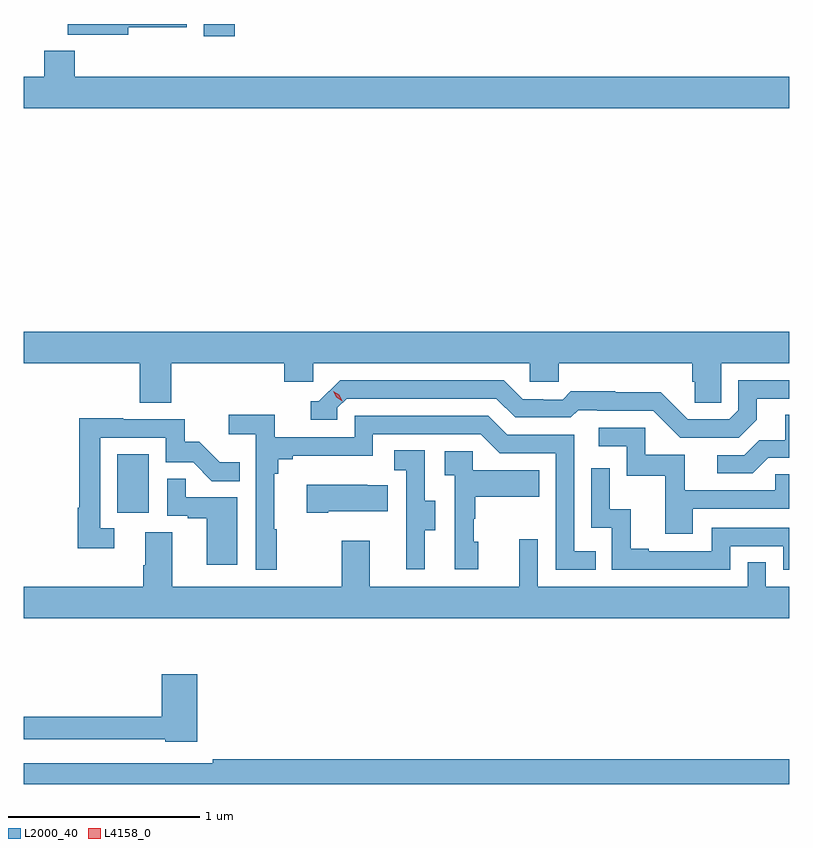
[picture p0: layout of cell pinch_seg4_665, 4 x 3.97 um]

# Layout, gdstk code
import gdstk
lib = gdstk.Library(unit=1e-6, precision=1e-09)
def R(c, l, rs):  # rectangles x0, y0, x1, y1
    for r in rs: c.add(gdstk.rectangle(r[:2], r[2:], *l))
def P(c, l, *ps):  # polygons
    for p in ps: c.add(gdstk.Polygon(p, *l))
L2000_40 = (2000, 40)
L4158_0 = (4158, 0)

pinch_seg4_665 = lib.new_cell('pinch_seg4_665')
R(pinch_seg4_665, L2000_40, [(1129.688,764.07,1129.852,764.377), (1130.141,766.56,1130.302,766.623)])
P(pinch_seg4_665, L2000_40, [(1129.747,766.606),(1130.052,766.606),(1130.052,766.623),(1129.429,766.623),(1129.429,766.568),(1129.747,766.568)],
  [(1133.199,766.348),(1129.466,766.348),(1129.466,766.483),(1129.306,766.483),(1129.306,766.348),(1129.199,766.348),(1129.199,766.184),(1133.199,766.184)],
  [(1129.97,764.852),(1130.561,764.852),(1130.561,764.754),(1130.712,764.754),(1130.712,764.852),(1131.843,764.852),(1131.843,764.754),(1131.993,764.754),(1131.993,764.852),(1132.691,764.852),(1132.691,764.754),(1132.705,764.754),(1132.705,764.644),(1132.842,764.644),(1132.842,764.852),(1133.199,764.852),(1133.199,765.016),(1129.199,765.016),(1129.199,764.852),(1129.805,764.852),(1129.805,764.644),(1129.97,764.644)],
  [(1133.029,764.557),(1133.029,764.667),(1133.199,764.667),(1133.199,764.763),(1132.932,764.763),(1132.932,764.607),(1132.884,764.559),(1132.668,764.559),(1132.526,764.701),(1132.29,764.701),(1132.29,764.704),(1132.057,764.704),(1132.015,764.661),(1131.912,764.661),(1131.912,764.664),(1131.805,764.664),(1131.706,764.763),(1130.853,764.763),(1130.742,764.652),(1130.699,764.652),(1130.699,764.556),(1130.838,764.556),(1130.838,764.619),(1130.886,764.667),(1131.669,764.667),(1131.768,764.568),(1132.057,764.568),(1132.096,764.607),(1132.195,764.607),(1132.195,764.604),(1132.488,764.604),(1132.629,764.463),(1132.935,764.463)],
  [(1133.089,764.358),(1133.199,764.358),(1133.199,764.582),(1133.177,764.582),(1133.177,764.45),(1133.042,764.45),(1132.962,764.37),(1132.821,764.37),(1132.821,764.277),(1133.008,764.277)],
  [(1130.521,763.985),(1130.509,763.985),(1130.509,764.273),(1130.528,764.273),(1130.528,764.35),(1130.605,764.35),(1130.605,764.369),(1131.024,764.369),(1131.024,764.481),(1131.588,764.481),(1131.687,764.382),(1131.978,764.382),(1131.978,763.773),(1132.187,763.773),(1132.187,763.869),(1132.074,763.869),(1132.074,764.478),(1131.724,764.478),(1131.625,764.577),(1130.928,764.577),(1130.928,764.466),(1130.51,764.466),(1130.51,764.582),(1130.271,764.582),(1130.271,764.48),(1130.412,764.48),(1130.412,763.773),(1130.521,763.773)],
  [(1129.672,763.989),(1129.599,763.989),(1129.599,764.463),(1129.941,764.463),(1129.941,764.334),(1130.085,764.334),(1130.183,764.236),(1130.327,764.236),(1130.327,764.335),(1130.223,764.335),(1130.116,764.442),(1130.04,764.442),(1130.04,764.559),(1129.721,764.559),(1129.721,764.564),(1129.491,764.564),(1129.491,764.096),(1129.483,764.096),(1129.483,763.884),(1129.672,763.884)],
  [(1132.693,764.091),(1133.199,764.091),(1133.199,764.271),(1133.125,764.271),(1133.125,764.187),(1132.651,764.187),(1132.651,764.373),(1132.446,764.373),(1132.446,764.514),(1132.203,764.514),(1132.203,764.418),(1132.35,764.418),(1132.35,764.265),(1132.549,764.265),(1132.549,763.962),(1132.693,763.962)],
  [(1131.295,763.978),(1131.349,763.978),(1131.349,764.133),(1131.294,764.133),(1131.294,764.396),(1131.135,764.396),(1131.135,764.293),(1131.198,764.293),(1131.198,763.989),(1131.197,763.989),(1131.197,763.776),(1131.295,763.776)],
  [(1131.574,763.92),(1131.549,763.92),(1131.549,764.039),(1131.559,764.039),(1131.559,764.153),(1131.893,764.153),(1131.893,764.293),(1131.546,764.293),(1131.546,764.391),(1131.399,764.391),(1131.399,764.267),(1131.45,764.267),(1131.45,763.776),(1131.574,763.776)],
  [(1132.89,763.896),(1133.166,763.896),(1133.166,763.773),(1133.199,763.773),(1133.199,763.992),(1132.794,763.992),(1132.794,763.869),(1132.465,763.869),(1132.465,763.882),(1132.37,763.882),(1132.37,764.09),(1132.26,764.09),(1132.26,764.302),(1132.164,764.302),(1132.164,763.992),(1132.272,763.992),(1132.272,763.773),(1132.89,763.773)],
  [(1130.314,764.151),(1130.045,764.151),(1130.045,764.249),(1129.95,764.249),(1129.95,764.055),(1130.057,764.055),(1130.057,764.043),(1130.156,764.043),(1130.156,763.8),(1130.314,763.8)],
  [(1130.791,764.078),(1131.101,764.078),(1131.101,764.215),(1130.993,764.215),(1130.993,764.218),(1130.679,764.218),(1130.679,764.071),(1130.791,764.071)],
  [(1133.199,763.684),(1133.076,763.684),(1133.076,763.811),(1132.98,763.811),(1132.98,763.684),(1131.885,763.684),(1131.885,763.933),(1131.788,763.933),(1131.788,763.684),(1131.007,763.684),(1131.007,763.924),(1130.86,763.924),(1130.86,763.684),(1129.975,763.684),(1129.975,763.97),(1129.835,763.97),(1129.835,763.796),(1129.823,763.796),(1129.823,763.684),(1129.199,763.684),(1129.199,763.52),(1133.199,763.52)],
  [(1130.105,763.228),(1129.922,763.228),(1129.922,763.004),(1129.199,763.004),(1129.199,762.888),(1129.938,762.888),(1129.938,762.875),(1130.105,762.875)],
  [(1133.199,762.782),(1130.188,762.782),(1130.188,762.762),(1129.199,762.762),(1129.199,762.654),(1133.199,762.654)])
P(pinch_seg4_665, L4158_0, [(1130.863,764.654),(1130.832,764.673),(1130.816,764.705),(1130.816,764.706),(1130.816,764.706),(1130.847,764.687),(1130.863,764.654),(1130.863,764.654)])

lib.write_gds('pinch_seg4_665.gds')
